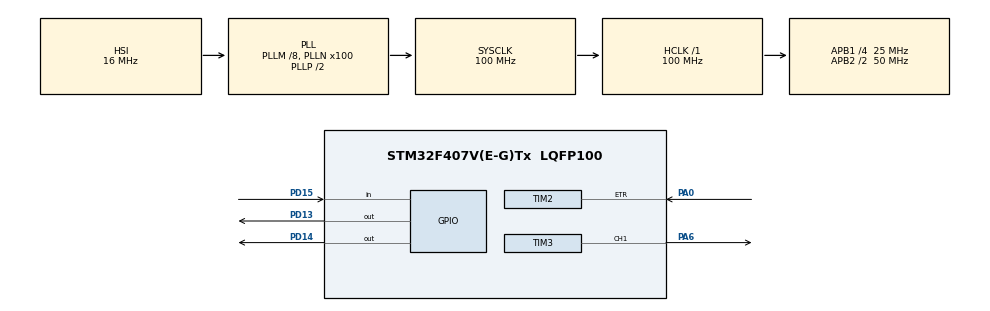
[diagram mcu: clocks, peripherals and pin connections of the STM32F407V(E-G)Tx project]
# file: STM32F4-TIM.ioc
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Mcu.Family=STM32F4
Mcu.Name=STM32F407V(E-G)Tx
Mcu.Package=LQFP100
NVIC.PriorityGroup=NVIC_PRIORITYGROUP_4
NVIC.TIM1_UP_TIM10_IRQn=true\:0\:0\:false\:false\:true\:true\:true\:true
NVIC.TIM2_IRQn=true\:0\:0\:false\:false\:true\:true\:true\:true
PA0-WKUP.GPIO_PuPd=GPIO_PULLDOWN
PA0-WKUP.Signal=S_TIM2_CH1_ETR
PA13.Mode=Serial_Wire
PA13.Signal=SYS_JTMS-SWDIO
PA14.Mode=Serial_Wire
PA14.Signal=SYS_JTCK-SWCLK
PA6.Signal=S_TIM3_CH1
PD13.Signal=GPIO_Output
PD14.Signal=GPIO_Output
PD15.Signal=GPIO_Input
PH0-OSC_IN.Mode=HSE-External-Oscillator
PH0-OSC_IN.Signal=RCC_OSC_IN
PH1-OSC_OUT.Mode=HSE-External-Oscillator
PH1-OSC_OUT.Signal=RCC_OSC_OUT
ProjectManager.HeapSize=0x200
ProjectManager.StackSize=0x400
ProjectManager.TargetToolchain=STM32CubeIDE
RCC.48MHZClocksFreq_Value=50000000
RCC.AHBFreq_Value=100000000
RCC.APB1CLKDivider=RCC_HCLK_DIV4
RCC.APB1Freq_Value=25000000
RCC.APB1TimFreq_Value=50000000
RCC.APB2CLKDivider=RCC_HCLK_DIV2
RCC.APB2Freq_Value=50000000
RCC.APB2TimFreq_Value=100000000
RCC.CortexFreq_Value=100000000
RCC.HCLKFreq_Value=100000000
RCC.HSE_VALUE=25000000
RCC.HSI_VALUE=16000000
RCC.LSE_VALUE=32768
RCC.PLLM=8
RCC.PLLN=100
RCC.SYSCLKFreq_VALUE=100000000
RCC.SYSCLKSource=RCC_SYSCLKSOURCE_PLLCLK
RCC.VCOOutputFreq_Value=200000000
SH.S_TIM2_CH1_ETR.0=TIM2_ETR,ClockSourceETR_Mode2
SH.S_TIM3_CH1.0=TIM3_CH1,PWM Generation1 CH1
TIM1.AutoReloadPreload=TIM_AUTORELOAD_PRELOAD_ENABLE
TIM1.Period=9999
TIM1.Prescaler=4999
TIM2.AutoReloadPreload=TIM_AUTORELOAD_PRELOAD_ENABLE
TIM2.Period=15
TIM3.AutoReloadPreload=TIM_AUTORELOAD_PRELOAD_ENABLE
TIM3.Channel-PWM\ Generation1\ CH1=TIM_CHANNEL_1
TIM3.Period=49999
VP_TIM1_VS_ClockSourceINT.Mode=Internal
VP_TIM3_VS_ClockSourceINT.Mode=Internal
board=custom

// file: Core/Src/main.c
/* USER CODE BEGIN Header */
/**
  ******************************************************************************
  * @file           : main.c
  * @brief          : Main program body
  ******************************************************************************
  * @attention
  *
  * Copyright (c) 2024 STMicroelectronics.
  * All rights reserved.
  *
  * This software is licensed under terms that can be found in the LICENSE file
  * in the root directory of this software component.
  * If no LICENSE file comes with this software, it is provided AS-IS.
  *
  ******************************************************************************
  */
/* USER CODE END Header */
#include "main.h"

TIM_HandleTypeDef htim1;
TIM_HandleTypeDef htim2;
TIM_HandleTypeDef htim3;

/* USER CODE BEGIN PV */
uint32_t count1 ;
uint32_t anlıkTetikleme ;
/* USER CODE END PV */

void SystemClock_Config(void);
static void MX_GPIO_Init(void);
static void MX_TIM2_Init(void);
static void MX_TIM1_Init(void);
static void MX_TIM3_Init(void);

int main(void)
{

  /* MCU Configuration--------------------------------------------------------*/

  /* Reset of all peripherals, Initializes the Flash interface and the Systick. */
  HAL_Init();

  /* Configure the system clock */
  SystemClock_Config();

  /* Initialize all configured peripherals */
  MX_GPIO_Init();
  MX_TIM2_Init();
  MX_TIM1_Init();
  MX_TIM3_Init();
  /* USER CODE BEGIN 2 */
  HAL_TIM_Base_Start_IT(&htim1);
  HAL_TIM_PWM_Start(&htim3,TIM_CHANNEL_1);
  HAL_TIM_Base_Start_IT(&htim2);

  int artis=0;

  /* USER CODE END 2 */

  /* Infinite loop */
  /* USER CODE BEGIN WHILE */
  while (1)
  {
		 // tım 2 deki tetikleme sayısı alınır
		 anlıkTetikleme = TIM2->CNT;

    /* USER CODE END WHILE */

    /* USER CODE BEGIN 3 */

		 // duty cycle değiştirme ;

		 while(artis<49999){

		 TIM3->CCR1=artis;

		  artis+=150;

		 }
		 while(artis>49999){

		  TIM3->CCR1=artis;

		  artis+=150;

		 }
  }
  /* USER CODE END 3 */
}

void SystemClock_Config(void)
{
  RCC_OscInitTypeDef RCC_OscInitStruct = {0};
  RCC_ClkInitTypeDef RCC_ClkInitStruct = {0};

  /** Configure the main internal regulator output voltage
  */
  __HAL_RCC_PWR_CLK_ENABLE();
  __HAL_PWR_VOLTAGESCALING_CONFIG(PWR_REGULATOR_VOLTAGE_SCALE1);

  /** Initializes the RCC Oscillators according to the specified parameters
  * in the RCC_OscInitTypeDef structure.
  */
  RCC_OscInitStruct.OscillatorType = RCC_OSCILLATORTYPE_HSI;
  RCC_OscInitStruct.HSIState = RCC_HSI_ON;
  RCC_OscInitStruct.HSICalibrationValue = RCC_HSICALIBRATION_DEFAULT;
  RCC_OscInitStruct.PLL.PLLState = RCC_PLL_ON;
  RCC_OscInitStruct.PLL.PLLSource = RCC_PLLSOURCE_HSI;
  RCC_OscInitStruct.PLL.PLLM = 8;
  RCC_OscInitStruct.PLL.PLLN = 100;
  RCC_OscInitStruct.PLL.PLLP = RCC_PLLP_DIV2;
  RCC_OscInitStruct.PLL.PLLQ = 4;
  if (HAL_RCC_OscConfig(&RCC_OscInitStruct) != HAL_OK)
  {
    Error_Handler();
  }

  /** Initializes the CPU, AHB and APB buses clocks
  */
  RCC_ClkInitStruct.ClockType = RCC_CLOCKTYPE_HCLK|RCC_CLOCKTYPE_SYSCLK
                              |RCC_CLOCKTYPE_PCLK1|RCC_CLOCKTYPE_PCLK2;
  RCC_ClkInitStruct.SYSCLKSource = RCC_SYSCLKSOURCE_PLLCLK;
  RCC_ClkInitStruct.AHBCLKDivider = RCC_SYSCLK_DIV1;
  RCC_ClkInitStruct.APB1CLKDivider = RCC_HCLK_DIV4;
  RCC_ClkInitStruct.APB2CLKDivider = RCC_HCLK_DIV2;

  if (HAL_RCC_ClockConfig(&RCC_ClkInitStruct, FLASH_LATENCY_3) != HAL_OK)
  {
    Error_Handler();
  }
}

static void MX_TIM1_Init(void)
{

  TIM_ClockConfigTypeDef sClockSourceConfig = {0};
  TIM_MasterConfigTypeDef sMasterConfig = {0};

  htim1.Instance = TIM1;
  htim1.Init.Prescaler = 4999;
  htim1.Init.CounterMode = TIM_COUNTERMODE_UP;
  htim1.Init.Period = 9999;
  htim1.Init.ClockDivision = TIM_CLOCKDIVISION_DIV1;
  htim1.Init.RepetitionCounter = 0;
  htim1.Init.AutoReloadPreload = TIM_AUTORELOAD_PRELOAD_ENABLE;
  if (HAL_TIM_Base_Init(&htim1) != HAL_OK)
  {
    Error_Handler();
  }
  sClockSourceConfig.ClockSource = TIM_CLOCKSOURCE_INTERNAL;
  if (HAL_TIM_ConfigClockSource(&htim1, &sClockSourceConfig) != HAL_OK)
  {
    Error_Handler();
  }
  sMasterConfig.MasterOutputTrigger = TIM_TRGO_RESET;
  sMasterConfig.MasterSlaveMode = TIM_MASTERSLAVEMODE_DISABLE;
  if (HAL_TIMEx_MasterConfigSynchronization(&htim1, &sMasterConfig) != HAL_OK)
  {
    Error_Handler();
  }

}

static void MX_TIM2_Init(void)
{

  TIM_ClockConfigTypeDef sClockSourceConfig = {0};
  TIM_MasterConfigTypeDef sMasterConfig = {0};

  htim2.Instance = TIM2;
  htim2.Init.Prescaler = 0;
  htim2.Init.CounterMode = TIM_COUNTERMODE_UP;
  htim2.Init.Period = 15;
  htim2.Init.ClockDivision = TIM_CLOCKDIVISION_DIV1;
  htim2.Init.AutoReloadPreload = TIM_AUTORELOAD_PRELOAD_ENABLE;
  if (HAL_TIM_Base_Init(&htim2) != HAL_OK)
  {
    Error_Handler();
  }
  sClockSourceConfig.ClockSource = TIM_CLOCKSOURCE_ETRMODE2;
  sClockSourceConfig.ClockPolarity = TIM_CLOCKPOLARITY_NONINVERTED;
  sClockSourceConfig.ClockPrescaler = TIM_CLOCKPRESCALER_DIV1;
  sClockSourceConfig.ClockFilter = 0;
  if (HAL_TIM_ConfigClockSource(&htim2, &sClockSourceConfig) != HAL_OK)
  {
    Error_Handler();
  }
  sMasterConfig.MasterOutputTrigger = TIM_TRGO_RESET;
  sMasterConfig.MasterSlaveMode = TIM_MASTERSLAVEMODE_DISABLE;
  if (HAL_TIMEx_MasterConfigSynchronization(&htim2, &sMasterConfig) != HAL_OK)
  {
    Error_Handler();
  }

}

static void MX_TIM3_Init(void)
{

  TIM_ClockConfigTypeDef sClockSourceConfig = {0};
  TIM_MasterConfigTypeDef sMasterConfig = {0};
  TIM_OC_InitTypeDef sConfigOC = {0};

  htim3.Instance = TIM3;
  htim3.Init.Prescaler = 0;
  htim3.Init.CounterMode = TIM_COUNTERMODE_UP;
  htim3.Init.Period = 49999;
  htim3.Init.ClockDivision = TIM_CLOCKDIVISION_DIV1;
  htim3.Init.AutoReloadPreload = TIM_AUTORELOAD_PRELOAD_ENABLE;
  if (HAL_TIM_Base_Init(&htim3) != HAL_OK)
  {
    Error_Handler();
  }
  sClockSourceConfig.ClockSource = TIM_CLOCKSOURCE_INTERNAL;
  if (HAL_TIM_ConfigClockSource(&htim3, &sClockSourceConfig) != HAL_OK)
  {
    Error_Handler();
  }
  if (HAL_TIM_PWM_Init(&htim3) != HAL_OK)
  {
    Error_Handler();
  }
  sMasterConfig.MasterOutputTrigger = TIM_TRGO_RESET;
  sMasterConfig.MasterSlaveMode = TIM_MASTERSLAVEMODE_DISABLE;
  if (HAL_TIMEx_MasterConfigSynchronization(&htim3, &sMasterConfig) != HAL_OK)
  {
    Error_Handler();
  }
  sConfigOC.OCMode = TIM_OCMODE_PWM1;
  sConfigOC.Pulse = 0;
  sConfigOC.OCPolarity = TIM_OCPOLARITY_HIGH;
  sConfigOC.OCFastMode = TIM_OCFAST_DISABLE;
  if (HAL_TIM_PWM_ConfigChannel(&htim3, &sConfigOC, TIM_CHANNEL_1) != HAL_OK)
  {
    Error_Handler();
  }
  HAL_TIM_MspPostInit(&htim3);

}

static void MX_GPIO_Init(void)
{
  GPIO_InitTypeDef GPIO_InitStruct = {0};

  /* GPIO Ports Clock Enable */
  __HAL_RCC_GPIOH_CLK_ENABLE();
  __HAL_RCC_GPIOA_CLK_ENABLE();
  __HAL_RCC_GPIOD_CLK_ENABLE();

  /*Configure GPIO pin Output Level */
  HAL_GPIO_WritePin(GPIOD, GPIO_PIN_13|GPIO_PIN_14, GPIO_PIN_RESET);

  /*Configure GPIO pins : PD13 PD14 */
  GPIO_InitStruct.Pin = GPIO_PIN_13|GPIO_PIN_14;
  GPIO_InitStruct.Mode = GPIO_MODE_OUTPUT_PP;
  GPIO_InitStruct.Pull = GPIO_NOPULL;
  GPIO_InitStruct.Speed = GPIO_SPEED_FREQ_LOW;
  HAL_GPIO_Init(GPIOD, &GPIO_InitStruct);

  /*Configure GPIO pin : PD15 */
  GPIO_InitStruct.Pin = GPIO_PIN_15;
  GPIO_InitStruct.Mode = GPIO_MODE_INPUT;
  GPIO_InitStruct.Pull = GPIO_NOPULL;
  HAL_GPIO_Init(GPIOD, &GPIO_InitStruct);

}

/* USER CODE BEGIN 4 */
 void HAL_TIM_PeriodElapsedCallback(TIM_HandleTypeDef *htim)

{
	 if(htim->Instance ==TIM1 ){

		 // Kesme modunda 2 saniyede bir bord üzerindeki mavi led yanıp sonecek

		 HAL_GPIO_TogglePin(GPIOD,GPIO_PIN_15);
		 count1 = HAL_GetTick();

	 }
	 if(htim->Instance ==TIM2 ){

		 // butondan 15 tetkikle geldiğinde kırmızı led yanıp sonecek
		 HAL_GPIO_TogglePin(GPIOD,GPIO_PIN_14);

	 }

}

/* USER CODE END 4 */

void Error_Handler(void)
{
  __disable_irq();
  while (1)
  {
  }
}
